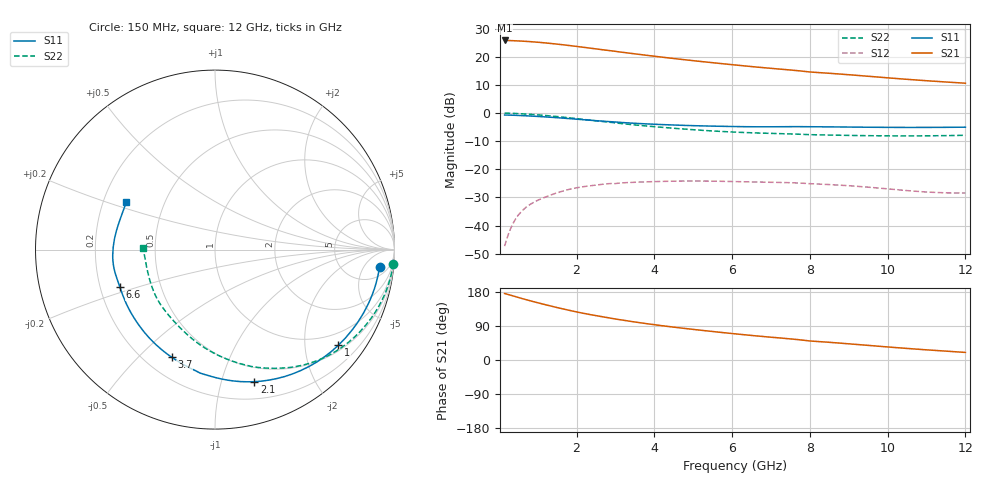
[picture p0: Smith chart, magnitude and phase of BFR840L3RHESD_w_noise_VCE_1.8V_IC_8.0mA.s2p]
! Infineon Technologies  Discrete & RF Semiconductors
! BFR840L3RHESD
! VCE =  1.8 V,  IC =  8.0 mA
! Common Emitter S-Parameters:  Jun 2012
# GHz  S  MA  R  50
!  f  S11  S21  S12  S22
! GHz  MAG  ANG  MAG  ANG  MAG  ANG  MAG  ANG
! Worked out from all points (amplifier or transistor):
!   91 points, 150 MHz to 12 GHz, reference 50 ohm
!   highest |S21| = 25.8 dB at 150 MHz (marker M1)
!   |S21| within 3 dB of that: start of sweep to 2.498 GHz
!   unconditionally stable (mu >= 1): 8.666 GHz to end of sweep
!   at 1.3 GHz: K = 0.10, MSG = 27.1 dB, |S12| = -29.3 dB
!   at 4.3 GHz: K = 0.37, MSG = 22.0 dB, |S12| = -24.3 dB
!   at 12 GHz: K = 2.20, MAG = 13.3 dB, |S12| = -28.4 dB
!   lowest NFmin = 0.61 dB at 450 MHz
!   S11 on the Smith chart (normalised r, x): 150 MHz: 9, -12; 1 GHz: 0.64, -2.79; 2.1 GHz: 0.36, -1.28; 3.7 GHz: 0.31, -0.63; 6.6 GHz: 0.28, -0.18; 12 GHz: 0.30, +0.23
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0.15  0.9216 -6.0  19.5 175.4  0.0043 88.8  0.9942 -4.5
0.3  0.9167 -11.9  19.38 171.1  0.0087 78.7  0.9894 -9.3
0.5  0.9061 -19.5  19.13 165.1  0.0153 74.6  0.9763 -15.4
0.8  0.8853 -30.6  18.59 156.5  0.0236 70.2  0.9489 -24.1
1  0.8697 -37.8  18.14 151.1  0.0281 66.3  0.9275 -29.7
1.2  0.853 -44.7  17.62 145.9  0.0321 61.8  0.904 -35.1
1.5  0.8259 -54.7  16.78 138.4  0.0382 55.2  0.8655 -42.9
1.8  0.7971 -64.3  15.89 131.4  0.0438 49.6  0.824 -50.2
2.1  0.768 -73.4  14.98 124.8  0.0482 44.9  0.7812 -57.1
2.2  0.7585 -76.2  14.68 122.8  0.0493 43.5  0.767 -59.2
2.6  0.7228 -86.8  13.52 115.3  0.0534 37.5  0.7144 -67.4
3  0.6933 -96.8  12.49 108.2  0.0557 32.6  0.6682 -74.7
3.4  0.6631 -105.8  11.5 101.8  0.0584 28.3  0.6244 -81.9
3.7  0.646 -112.0  10.84 97.4  0.0595 25.4  0.5965 -86.9
4.2  0.6236 -121.7  9.847 90.5  0.0609 21.3  0.5569 -94.6
5.1  0.5938 -137.4  8.382 79.6  0.0619 15.2  0.4997 -107.7
6.1  0.5748 -152.0  7.123 68.8  0.0604 9.9  0.4571 -121.0
6.6  0.5697 -158.5  6.598 63.8  0.0594 7.5  0.4431 -127.4
8  0.5708 -176.8  5.36 50.2  0.0555 2.1  0.4127 -146.3
8.5  0.5674 178.7  5.088 46.7  0.0535 0.6  0.4061 -150.9
10.5  0.5547 161.2  3.972 30.5  0.0418 1.2  0.3923 -170.2
12  0.5602 152.0  3.389 20.0  0.0379 13.5  0.4022 179.0
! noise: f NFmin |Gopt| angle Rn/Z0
0.45  0.61  0.39  6  0.16
0.9  0.64  0.39  11  0.16
1.9  0.68  0.41  29  0.16
3.5  0.69  0.4  49  0.14
4  0.7  0.4  57  0.14
5.5  0.74  0.4  71  0.13
7  0.81  0.38  91  0.12
8  0.88  0.36  101  0.11
10  0.98  0.34  124  0.1
12  1.13  0.3  153  0.09
